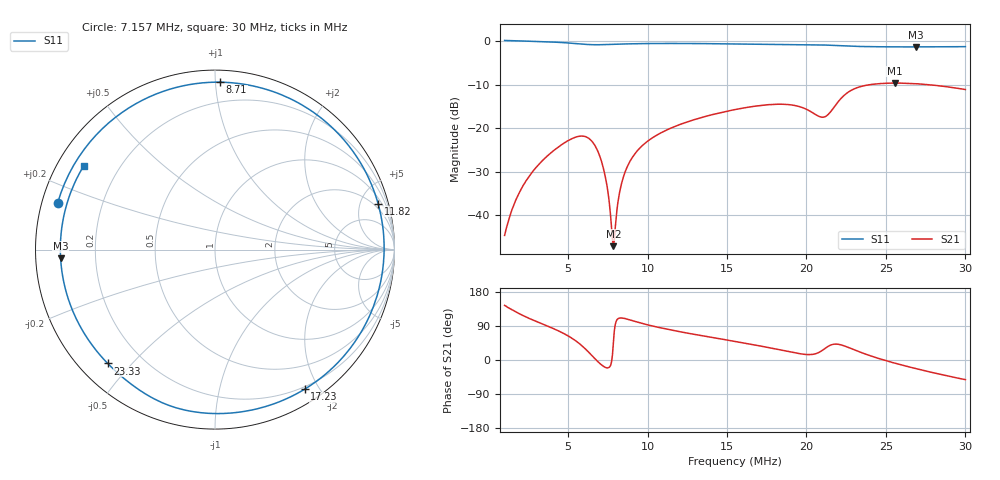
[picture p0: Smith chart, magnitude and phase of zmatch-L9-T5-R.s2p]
# HZ S RI R 50
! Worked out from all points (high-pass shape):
!   505 points, 1 MHz to 30 MHz, reference 50 ohm
!   highest |S21| = -9.60 dB at 25.57 MHz (marker M1); lowest = -47.1 dB at 7.847 MHz (marker M2)
!   |S21| within 3 dB of the highest: 22.32 MHz to end of sweep
!   lowest |S11| = -1.3 dB at 26.89 MHz (marker M3), VSWR 13.44, Z = 3.72 - j1.42 ohm
!   |S11| at or under -10 dB: nowhere
!   S12 and S22 are empty: the file has one direction only
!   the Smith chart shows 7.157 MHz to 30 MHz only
!   S11 on the Smith chart (normalised r, x): 7.157 MHz: 0.05, +0.14; 8.71 MHz: 0.07, +1.03; 11.82 MHz: 1.47, +6.93; 17.23 MHz: 0.17, -1.82; 23.33 MHz: 0.08, -0.43; 30 MHz: 0.08, +0.29
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1000000  -0.641 0.7958  -0.00478 0.00344  0 0  0 0
1748020  -0.1616 0.9989  -0.00926 0.0126  0 0  0 0
2496040  0.3306 0.9462  -0.00971 0.0256  0 0  0 0
4049620  0.9688 0.1418  0.00645 0.0545  0 0  0 0
4912720  0.7796 -0.5584  0.0292 0.0645  0 0  0 0
5833360  -0.1187 -0.9213  0.0636 0.0511  0 0  0 0
6523840  -0.7988 -0.4437  0.0689 0.0127  0 0  0 0
7156780  -0.8772 0.2582  0.037 -0.00976  0 0  0 0
7847260  -0.5181 0.7638  0.00309 0.00318  0 0  0 0
8250040  -0.2537 0.893  -0.00673 0.0177  0 0  0 0
8710360  0.028 0.9328  -0.011 0.0342  0 0  0 0
1.066672e7  0.7559 0.5648  0.00557 0.0851  0 0  0 0
1.181752e7  0.9086 0.2561  0.0253 0.1039  0 0  0 0
1.550008e7  0.7545 -0.5482  0.1077 0.1241  0 0  0 0
1.722628e7  0.4988 -0.7781  0.1491 0.1079  0 0  0 0
2.033344e7  -0.0899 -0.9073  0.1481 0.0386  0 0  0 0
2.119654e7  -0.2626 -0.8659  0.1168 0.0712  0 0  0 0
2.332552e7  -0.5977 -0.6344  0.2779 0.11  0 0  0 0
2.51668e7  -0.7871 -0.3547  0.3295 -0.0217  0 0  0 0
2.556958e7  -0.8139 -0.2854  0.3274 -0.0488  0 0  0 0
2.6893e7  -0.86 -0.0493  0.3001 -0.1262  0 0  0 0
3.000016e7  -0.7318 0.4662  0.1723 -0.2195  0 0  0 0
